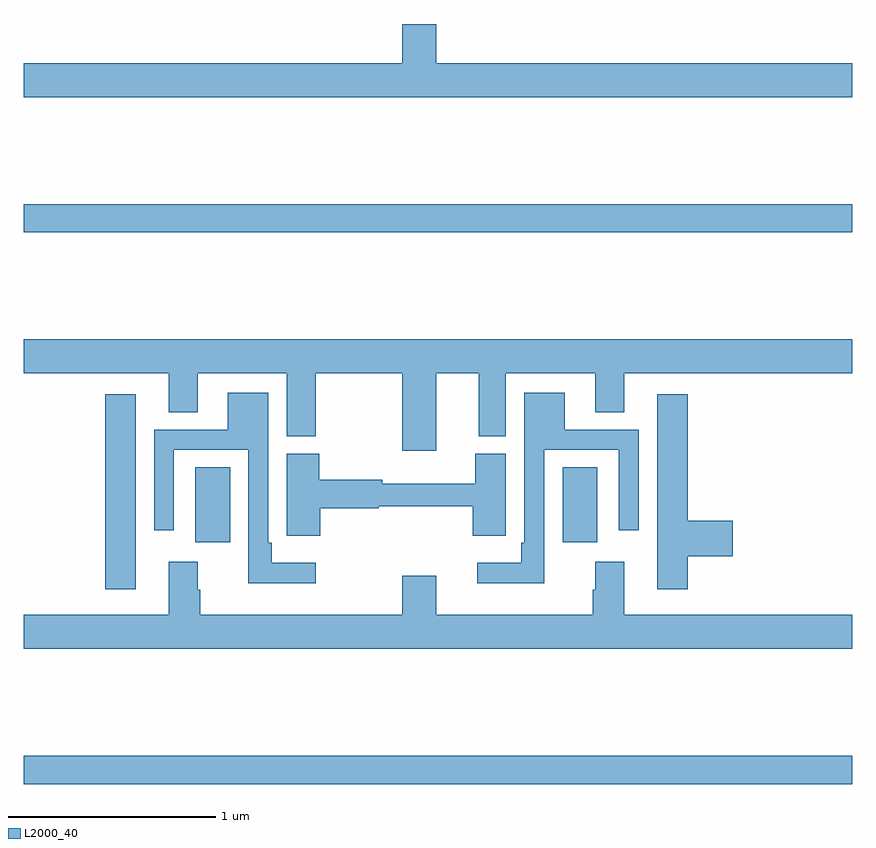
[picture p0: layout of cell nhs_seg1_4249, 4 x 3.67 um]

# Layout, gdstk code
import gdstk
lib = gdstk.Library(unit=1e-6, precision=1e-09)
def R(c, l, rs):  # rectangles x0, y0, x1, y1
    for r in rs: c.add(gdstk.rectangle(r[:2], r[2:], *l))
def P(c, l, *ps):  # polygons
    for p in ps: c.add(gdstk.Polygon(p, *l))
L2000_40 = (2000, 40)

nhs_seg1_4249 = lib.new_cell('nhs_seg1_4249')
R(nhs_seg1_4249, L2000_40, [(343,504.46,347,504.596), (343.394,505.401,343.54,506.341), (343.829,505.626,343.996,505.988), (345.602,505.626,345.769,505.988), (343,507.124,347,507.26)])
P(nhs_seg1_4249, L2000_40, [(347,507.94),(344.992,507.94),(344.992,508.129),(344.828,508.129),(344.828,507.94),(343,507.94),(343,507.776),(347,507.776)],
  [(344.992,506.444),(345.197,506.444),(345.197,506.14),(345.328,506.14),(345.328,506.444),(345.758,506.444),(345.758,506.254),(345.898,506.254),(345.898,506.444),(347,506.444),(347,506.608),(343,506.608),(343,506.444),(343.7,506.444),(343.7,506.254),(343.84,506.254),(343.84,506.444),(344.27,506.444),(344.27,506.14),(344.409,506.14),(344.409,506.444),(344.828,506.444),(344.828,506.07),(344.992,506.07)],
  [(344.41,505.528),(344.197,505.528),(344.197,505.624),(344.181,505.624),(344.181,506.35),(343.985,506.35),(343.985,506.169),(343.629,506.169),(343.629,505.686),(343.725,505.686),(343.725,506.073),(344.085,506.073),(344.085,505.43),(344.41,505.43)],
  [(345.513,506.073),(345.873,506.073),(345.873,505.686),(345.969,505.686),(345.969,506.169),(345.613,506.169),(345.613,506.35),(345.417,506.35),(345.417,505.624),(345.401,505.624),(345.401,505.528),(345.189,505.528),(345.189,505.43),(345.513,505.43)],
  [(346.205,505.559),(346.423,505.559),(346.423,505.73),(346.205,505.73),(346.205,506.341),(346.058,506.341),(346.058,505.401),(346.205,505.401)],
  [(344.432,505.792),(344.715,505.792),(344.715,505.8),(345.167,505.8),(345.167,505.659),(345.327,505.659),(345.327,505.771),(345.328,505.771),(345.328,506.055),(345.179,506.055),(345.179,505.909),(344.732,505.909),(344.732,505.928),(344.427,505.928),(344.427,506.055),(344.27,506.055),(344.27,505.771),(344.271,505.771),(344.271,505.659),(344.432,505.659)],
  [(347,505.276),(345.898,505.276),(345.898,505.534),(345.758,505.534),(345.758,505.397),(345.746,505.397),(345.746,505.276),(344.992,505.276),(344.992,505.465),(344.828,505.465),(344.828,505.276),(343.853,505.276),(343.853,505.397),(343.84,505.397),(343.84,505.534),(343.7,505.534),(343.7,505.276),(343,505.276),(343,505.112),(347,505.112)])

lib.write_gds('nhs_seg1_4249.gds')
